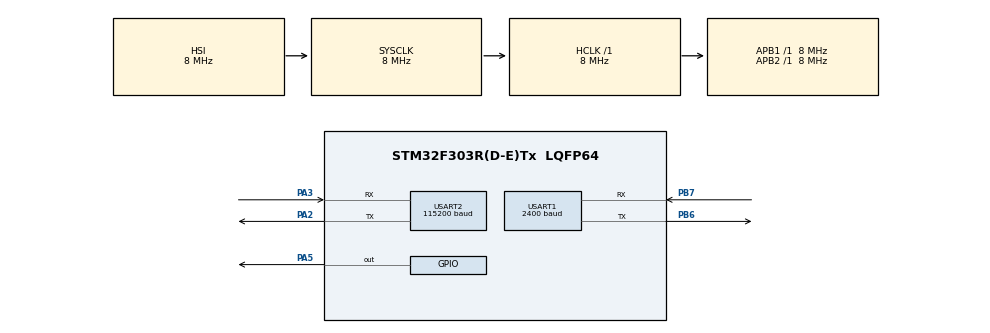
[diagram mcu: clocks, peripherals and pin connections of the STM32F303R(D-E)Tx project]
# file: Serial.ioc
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Dma.Request0=USART2_RX
Dma.Request1=USART2_TX
Dma.Request2=USART1_RX
Dma.Request3=USART1_TX
Dma.USART1_RX.2.Direction=DMA_PERIPH_TO_MEMORY
Dma.USART1_RX.2.Instance=DMA1_Channel5
Dma.USART1_RX.2.MemDataAlignment=DMA_MDATAALIGN_BYTE
Dma.USART1_RX.2.MemInc=DMA_MINC_ENABLE
Dma.USART1_RX.2.Mode=DMA_NORMAL
Dma.USART1_RX.2.PeriphDataAlignment=DMA_PDATAALIGN_BYTE
Dma.USART1_RX.2.PeriphInc=DMA_PINC_DISABLE
Dma.USART1_RX.2.Priority=DMA_PRIORITY_LOW
Dma.USART1_TX.3.Direction=DMA_MEMORY_TO_PERIPH
Dma.USART1_TX.3.Instance=DMA1_Channel4
Dma.USART1_TX.3.MemDataAlignment=DMA_MDATAALIGN_BYTE
Dma.USART1_TX.3.MemInc=DMA_MINC_ENABLE
Dma.USART1_TX.3.Mode=DMA_NORMAL
Dma.USART1_TX.3.PeriphDataAlignment=DMA_PDATAALIGN_BYTE
Dma.USART1_TX.3.PeriphInc=DMA_PINC_DISABLE
Dma.USART1_TX.3.Priority=DMA_PRIORITY_LOW
Dma.USART2_RX.0.Direction=DMA_PERIPH_TO_MEMORY
Dma.USART2_RX.0.Instance=DMA1_Channel6
Dma.USART2_RX.0.MemDataAlignment=DMA_MDATAALIGN_BYTE
Dma.USART2_RX.0.MemInc=DMA_MINC_ENABLE
Dma.USART2_RX.0.Mode=DMA_NORMAL
Dma.USART2_RX.0.PeriphDataAlignment=DMA_PDATAALIGN_BYTE
Dma.USART2_RX.0.PeriphInc=DMA_PINC_DISABLE
Dma.USART2_RX.0.Priority=DMA_PRIORITY_LOW
Dma.USART2_TX.1.Direction=DMA_MEMORY_TO_PERIPH
Dma.USART2_TX.1.Instance=DMA1_Channel7
Dma.USART2_TX.1.MemDataAlignment=DMA_MDATAALIGN_BYTE
Dma.USART2_TX.1.MemInc=DMA_MINC_ENABLE
Dma.USART2_TX.1.Mode=DMA_NORMAL
Dma.USART2_TX.1.PeriphDataAlignment=DMA_PDATAALIGN_BYTE
Dma.USART2_TX.1.PeriphInc=DMA_PINC_DISABLE
Dma.USART2_TX.1.Priority=DMA_PRIORITY_LOW
Mcu.Family=STM32F3
Mcu.Name=STM32F303R(D-E)Tx
Mcu.Package=LQFP64
NVIC.DMA1_Channel4_IRQn=true\:0\:0\:false\:false\:true\:false
NVIC.DMA1_Channel5_IRQn=true\:0\:0\:false\:false\:true\:false
NVIC.DMA1_Channel6_IRQn=true\:0\:0\:false\:false\:true\:false
NVIC.DMA1_Channel7_IRQn=true\:0\:0\:false\:false\:true\:false
NVIC.PriorityGroup=NVIC_PRIORITYGROUP_4
NVIC.USART1_IRQn=true\:0\:0\:false\:false\:true\:true
NVIC.USART2_IRQn=true\:0\:0\:false\:false\:true\:true
PA2.Mode=Asynchronous
PA2.Signal=USART2_TX
PA3.Mode=Asynchronous
PA3.Signal=USART2_RX
PA5.Signal=GPIO_Output
PB6.Mode=Asynchronous
PB6.Signal=USART1_TX
PB7.Mode=Asynchronous
PB7.Signal=USART1_RX
ProjectManager.HeapSize=0x200
ProjectManager.StackSize=0x400
ProjectManager.TargetToolchain=Makefile
RCC.AHBFreq_Value=8000000
RCC.APB1Freq_Value=8000000
RCC.APB2Freq_Value=8000000
RCC.CortexFreq_Value=8000000
RCC.HSE_VALUE=8000000
RCC.HSI_VALUE=8000000
RCC.LSE_VALUE=32768
RCC.SYSCLKFreq_VALUE=8000000
RCC.USBFreq_Value=16000000
USART1.BaudRate=2400
USART1.Parity=PARITY_EVEN
USART1.VirtualMode-Asynchronous=VM_ASYNC
USART1.WordLength=WORDLENGTH_9B
USART2.BaudRate=115200
USART2.VirtualMode-Asynchronous=VM_ASYNC
board=custom

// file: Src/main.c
/**
  ******************************************************************************
  * @file           : main.c
  * @brief          : Main program body
  ******************************************************************************
  ** This notice applies to any and all portions of this file
  * that are not between comment pairs USER CODE BEGIN and
  * USER CODE END. Other portions of this file, whether
  * inserted by the user or by software development tools
  * are owned by their respective copyright owners.
  *
  * COPYRIGHT(c) 2019 STMicroelectronics
  *
  * Redistribution and use in source and binary forms, with or without modification,
  * are permitted provided that the following conditions are met:
  *   1. Redistributions of source code must retain the above copyright notice,
  *      this list of conditions and the following disclaimer.
  *   2. Redistributions in binary form must reproduce the above copyright notice,
  *      this list of conditions and the following disclaimer in the documentation
  *      and/or other materials provided with the distribution.
  *   3. Neither the name of STMicroelectronics nor the names of its contributors
  *      may be used to endorse or promote products derived from this software
  *      without specific prior written permission.
  *
  * THIS SOFTWARE IS PROVIDED BY THE COPYRIGHT HOLDERS AND CONTRIBUTORS "AS IS"
  * AND ANY EXPRESS OR IMPLIED WARRANTIES, INCLUDING, BUT NOT LIMITED TO, THE
  * IMPLIED WARRANTIES OF MERCHANTABILITY AND FITNESS FOR A PARTICULAR PURPOSE ARE
  * DISCLAIMED. IN NO EVENT SHALL THE COPYRIGHT HOLDER OR CONTRIBUTORS BE LIABLE
  * FOR ANY DIRECT, INDIRECT, INCIDENTAL, SPECIAL, EXEMPLARY, OR CONSEQUENTIAL
  * DAMAGES (INCLUDING, BUT NOT LIMITED TO, PROCUREMENT OF SUBSTITUTE GOODS OR
  * SERVICES; LOSS OF USE, DATA, OR PROFITS; OR BUSINESS INTERRUPTION) HOWEVER
  * CAUSED AND ON ANY THEORY OF LIABILITY, WHETHER IN CONTRACT, STRICT LIABILITY,
  * OR TORT (INCLUDING NEGLIGENCE OR OTHERWISE) ARISING IN ANY WAY OUT OF THE USE
  * OF THIS SOFTWARE, EVEN IF ADVISED OF THE POSSIBILITY OF SUCH DAMAGE.
  *
  ******************************************************************************
  */
#include "main.h"
#include "stm32f3xx_hal.h"
#include "dma.h"
#include "usart.h"
#include "gpio.h"

/* USER CODE BEGIN Includes */
#define MBUS_MAX_LEN 100

/* USER CODE END Includes */

/* USER CODE BEGIN PV */
/* Private variables ---------------------------------------------------------*/
char log_buffer[500];
uint8_t serial_ready_1 = 1;
uint8_t serial_available_1 = 0;
uint8_t serial_ready_2 = 1;
uint8_t serial_available_2 = 0;
/* USER CODE END PV */

void SystemClock_Config(void);

/* USER CODE BEGIN PFP */
/* Private function prototypes -----------------------------------------------*/

/* USER CODE END PFP */

/* USER CODE BEGIN 0 */
uint8_t tx_buff_1[10];
uint8_t rx_buff_1[MBUS_MAX_LEN];
uint8_t rx_buff_2[10];

void mbus_short_frame(uint8_t address, uint8_t C_field) {

  HAL_GPIO_TogglePin(GPIOA, GPIO_PIN_5);
  HAL_Delay(200);
  HAL_GPIO_TogglePin(GPIOA, GPIO_PIN_5);
  HAL_Delay(200);

  tx_buff_1[0] = 0x10;
  tx_buff_1[1] = C_field;
  tx_buff_1[2] = address;
  tx_buff_1[3] = tx_buff_1[1]+tx_buff_1[2];
  tx_buff_1[4] = 0x16;
  tx_buff_1[5] = '\0';

  HAL_UART_Transmit_DMA(&huart1,(uint8_t*)tx_buff_1,6);
}

/* USER CODE END 0 */

int main(void)
{

  /* MCU Configuration----------------------------------------------------------*/

  /* Reset of all peripherals, Initializes the Flash interface and the Systick. */
  HAL_Init();

  /* Configure the system clock */
  SystemClock_Config();

  /* Initialize all configured peripherals */
  MX_GPIO_Init();
  MX_DMA_Init();
  MX_USART2_UART_Init();
  MX_USART1_UART_Init();
  /* USER CODE BEGIN 2 */

  HAL_UART_Receive_DMA(&huart1,rx_buff_1,MBUS_MAX_LEN);
  HAL_UART_Receive_DMA(&huart2,rx_buff_2,10);

  // Send initial MBUS request
  HAL_Delay(1000);
  mbus_short_frame(92,0x5b);

  /* USER CODE END 2 */

  /* Infinite loop */
  /* USER CODE BEGIN WHILE */
  while (1)
  {
    // -------------------------------------------------------------------------
    // 1) Read in DEBUG uart
    // -------------------------------------------------------------------------
    if (serial_available_2) {
        serial_available_2 = 0;

        if (serial_ready_2) {
            serial_ready_2 = 0;

            // echo content back
            HAL_UART_Transmit_DMA(&huart2,(uint8_t*)rx_buff_2,strlen(rx_buff_2));
            // Send MBUS request
            mbus_short_frame(92,0x5b);
        }
        // Start listening again on uart2
        HAL_UART_Receive_DMA(&huart2,rx_buff_2,10);
    }

    // -------------------------------------------------------------------------
    // 1) Read in MBUS uart
    // -------------------------------------------------------------------------
    if (serial_available_1) {
        serial_available_1 = 0;

        // LED indicator to show mbus data available
        int i;
        for (i=0; i<10; i++) {
            HAL_GPIO_TogglePin(GPIOA, GPIO_PIN_5);
            HAL_Delay(50);
        }

        // Send MBUS reply to DEBUG UART
        if (serial_ready_2) {
            serial_ready_2 = 0;

            int i;
            for (i=0; i<76; i++) {
              sprintf(log_buffer,"%i %i \r\n",i,rx_buff_1[i]);
              HAL_UART_Transmit(&huart2, (uint8_t*)log_buffer, strlen(log_buffer), 1000);
            }
        }
        // Start listening again on uart1
        HAL_UART_Receive_DMA(&huart1,rx_buff_1,MBUS_MAX_LEN);
    }

    HAL_Delay(200);
  /* USER CODE END WHILE */

  }

}

void SystemClock_Config(void)
{

  RCC_OscInitTypeDef RCC_OscInitStruct;
  RCC_ClkInitTypeDef RCC_ClkInitStruct;
  RCC_PeriphCLKInitTypeDef PeriphClkInit;

    /**Initializes the CPU, AHB and APB busses clocks
    */
  RCC_OscInitStruct.OscillatorType = RCC_OSCILLATORTYPE_HSI;
  RCC_OscInitStruct.HSIState = RCC_HSI_ON;
  RCC_OscInitStruct.HSICalibrationValue = 16;
  RCC_OscInitStruct.PLL.PLLState = RCC_PLL_NONE;
  if (HAL_RCC_OscConfig(&RCC_OscInitStruct) != HAL_OK)
  {
    _Error_Handler(__FILE__, __LINE__);
  }

    /**Initializes the CPU, AHB and APB busses clocks
    */
  RCC_ClkInitStruct.ClockType = RCC_CLOCKTYPE_HCLK|RCC_CLOCKTYPE_SYSCLK
                              |RCC_CLOCKTYPE_PCLK1|RCC_CLOCKTYPE_PCLK2;
  RCC_ClkInitStruct.SYSCLKSource = RCC_SYSCLKSOURCE_HSI;
  RCC_ClkInitStruct.AHBCLKDivider = RCC_SYSCLK_DIV1;
  RCC_ClkInitStruct.APB1CLKDivider = RCC_HCLK_DIV1;
  RCC_ClkInitStruct.APB2CLKDivider = RCC_HCLK_DIV1;

  if (HAL_RCC_ClockConfig(&RCC_ClkInitStruct, FLASH_LATENCY_0) != HAL_OK)
  {
    _Error_Handler(__FILE__, __LINE__);
  }

  PeriphClkInit.PeriphClockSelection = RCC_PERIPHCLK_USART1|RCC_PERIPHCLK_USART2;
  PeriphClkInit.Usart1ClockSelection = RCC_USART1CLKSOURCE_PCLK2;
  PeriphClkInit.Usart2ClockSelection = RCC_USART2CLKSOURCE_PCLK1;
  if (HAL_RCCEx_PeriphCLKConfig(&PeriphClkInit) != HAL_OK)
  {
    _Error_Handler(__FILE__, __LINE__);
  }

    /**Configure the Systick interrupt time
    */
  HAL_SYSTICK_Config(HAL_RCC_GetHCLKFreq()/1000);

    /**Configure the Systick
    */
  HAL_SYSTICK_CLKSourceConfig(SYSTICK_CLKSOURCE_HCLK);

  /* SysTick_IRQn interrupt configuration */
  HAL_NVIC_SetPriority(SysTick_IRQn, 0, 0);
}

/* USER CODE BEGIN 4 */

void HAL_UART_RxCpltCallback(UART_HandleTypeDef *huart){
    if (huart==&huart1) serial_available_1 = 1;
    if (huart==&huart2) serial_available_2 = 1;
}

void HAL_UART_TxCpltCallback(UART_HandleTypeDef *huart){
    if (huart==&huart1) serial_ready_1 = 1;
    if (huart==&huart2) serial_ready_2 = 1;
}

/* USER CODE END 4 */

void _Error_Handler(char *file, int line)
{
  while(1)
  {
  }
}

/************************ (C) COPYRIGHT STMicroelectronics *****END OF FILE****/
